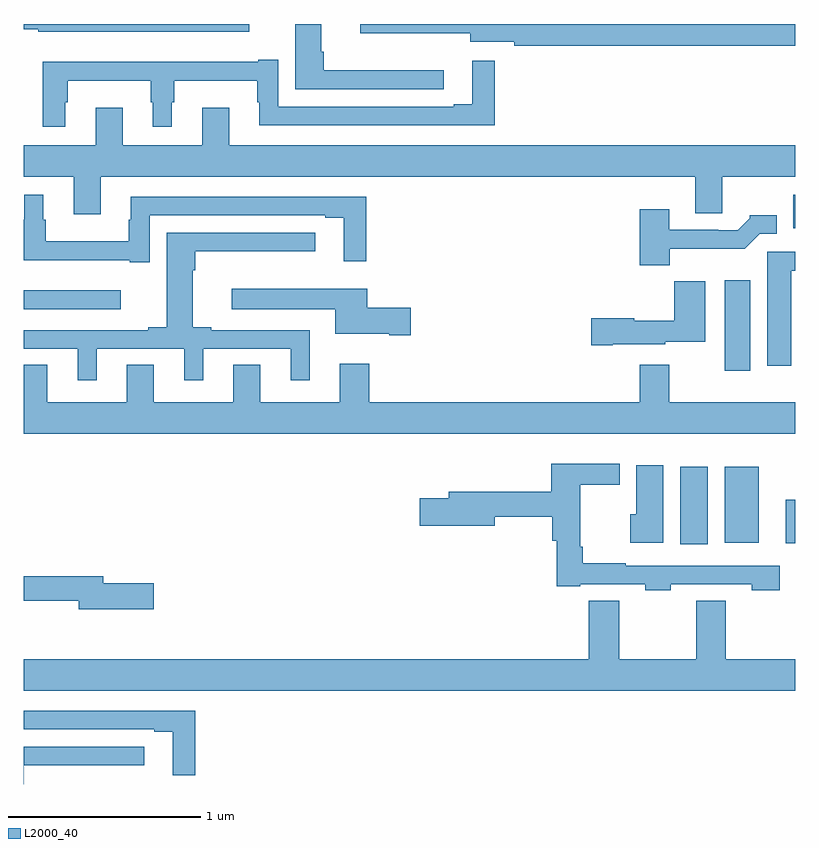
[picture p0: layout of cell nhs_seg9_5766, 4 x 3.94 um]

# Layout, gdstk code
import gdstk
lib = gdstk.Library(unit=1e-6, precision=1e-09)
def R(c, l, rs):  # rectangles x0, y0, x1, y1
    for r in rs: c.add(gdstk.rectangle(r[:2], r[2:], *l))
def P(c, l, *ps):  # polygons
    for p in ps: c.add(gdstk.Polygon(p, *l))
L2000_40 = (2000, 40)

nhs_seg9_5766 = lib.new_cell('nhs_seg9_5766')
R(nhs_seg9_5766, L2000_40, [(448.403,1239.804,448.546,1240.204), (448.949,1239.809,449,1240.033), (448.634,1239.812,448.81,1240.204), (448.634,1240.704,448.765,1241.173), (445,1241.022,445.504,1241.119), (448.988,1241.442,449,1241.614)])
P(nhs_seg9_5766, L2000_40, [(447.178,1242.26),(446.555,1242.26),(446.555,1242.355),(446.542,1242.355),(446.542,1242.5),(446.408,1242.5),(446.408,1242.162),(447.178,1242.162)],
  [(446.17,1242.5),(445,1242.5),(445,1242.472),(445.076,1242.472),(445.076,1242.461),(446.17,1242.461)],
  [(449,1242.5),(446.745,1242.5),(446.745,1242.452),(447.314,1242.452),(447.314,1242.408),(447.544,1242.408),(447.544,1242.388),(449,1242.388)],
  [(445.216,1242.095),(445.228,1242.095),(445.228,1242.206),(445.659,1242.206),(445.659,1242.095),(445.67,1242.095),(445.67,1241.967),(445.768,1241.967),(445.768,1242.095),(445.78,1242.095),(445.78,1242.206),(446.211,1242.206),(446.211,1242.095),(446.222,1242.095),(446.222,1241.976),(447.443,1241.976),(447.443,1242.31),(447.326,1242.31),(447.326,1242.085),(447.23,1242.085),(447.23,1242.072),(446.319,1242.072),(446.319,1242.316),(446.216,1242.316),(446.216,1242.304),(445.099,1242.304),(445.099,1241.967),(445.216,1241.967)],
  [(445.399,1241.708),(448.481,1241.708),(448.481,1241.518),(448.621,1241.518),(448.621,1241.708),(449,1241.708),(449,1241.872),(446.065,1241.872),(446.065,1242.067),(445.925,1242.067),(445.925,1241.872),(445.513,1241.872),(445.513,1242.067),(445.373,1242.067),(445.373,1241.872),(445,1241.872),(445,1241.708),(445.259,1241.708),(445.259,1241.514),(445.399,1241.514)],
  [(445.653,1241.508),(446.564,1241.508),(446.564,1241.496),(446.66,1241.496),(446.66,1241.271),(446.777,1241.271),(446.777,1241.604),(445.556,1241.604),(445.556,1241.486),(445.545,1241.486),(445.545,1241.374),(445.114,1241.374),(445.114,1241.486),(445.102,1241.486),(445.102,1241.614),(445.004,1241.614),(445.004,1241.486),(445,1241.486),(445,1241.276),(445.55,1241.276),(445.55,1241.265),(445.653,1241.265)],
  [(448.348,1241.334),(448.737,1241.334),(448.815,1241.412),(448.903,1241.412),(448.903,1241.509),(448.764,1241.509),(448.764,1241.494),(448.7,1241.43),(448.601,1241.43),(448.601,1241.433),(448.345,1241.433),(448.345,1241.539),(448.193,1241.539),(448.193,1241.249),(448.348,1241.249)],
  [(445.378,1240.818),(445.832,1240.818),(445.832,1240.653),(445.93,1240.653),(445.93,1240.818),(446.384,1240.818),(446.384,1240.653),(446.482,1240.653),(446.482,1240.914),(445.972,1240.914),(445.972,1240.927),(445.876,1240.927),(445.876,1241.225),(445.889,1241.225),(445.889,1241.321),(446.512,1241.321),(446.512,1241.418),(445.742,1241.418),(445.742,1240.927),(445.646,1240.927),(445.646,1240.914),(445,1240.914),(445,1240.818),(445.28,1240.818),(445.28,1240.653),(445.378,1240.653)],
  [(448.978,1241.222),(449,1241.222),(449,1241.319),(448.853,1241.319),(448.853,1240.728),(448.978,1240.728)],
  [(448.054,1240.841),(448.326,1240.841),(448.326,1240.853),(448.534,1240.853),(448.534,1241.167),(448.372,1241.167),(448.372,1240.963),(448.164,1240.963),(448.164,1240.976),(447.942,1240.976),(447.942,1240.834),(448.054,1240.834)],
  [(447.007,1241.03),(446.782,1241.03),(446.782,1241.128),(446.079,1241.128),(446.079,1241.021),(446.615,1241.021),(446.615,1240.895),(446.894,1240.895),(446.894,1240.888),(447.007,1240.888)],
  [(449,1240.54),(448.345,1240.54),(448.345,1240.735),(448.193,1240.735),(448.193,1240.54),(446.792,1240.54),(446.792,1240.738),(446.639,1240.738),(446.639,1240.54),(446.227,1240.54),(446.227,1240.733),(446.087,1240.733),(446.087,1240.54),(445.675,1240.54),(445.675,1240.733),(445.535,1240.733),(445.535,1240.54),(445.123,1240.54),(445.123,1240.733),(445,1240.733),(445,1240.376),(449,1240.376)],
  [(448.353,1239.597),(448.773,1239.597),(448.773,1239.565),(448.918,1239.565),(448.918,1239.693),(448.121,1239.693),(448.121,1239.706),(447.899,1239.706),(447.899,1239.79),(447.884,1239.79),(447.884,1240.113),(448.09,1240.113),(448.09,1240.222),(447.734,1240.222),(447.734,1240.075),(447.203,1240.075),(447.203,1240.041),(447.054,1240.041),(447.054,1239.899),(447.442,1239.899),(447.442,1239.946),(447.739,1239.946),(447.739,1239.821),(447.763,1239.821),(447.763,1239.585),(447.886,1239.585),(447.886,1239.597),(448.221,1239.597),(448.221,1239.565),(448.353,1239.565)],
  [(448.315,1240.213),(448.175,1240.213),(448.175,1239.96),(448.145,1239.96),(448.145,1239.812),(448.315,1239.812)],
  [(445.675,1239.602),(445.414,1239.602),(445.414,1239.638),(445,1239.638),(445,1239.51),(445.286,1239.51),(445.286,1239.467),(445.675,1239.467)],
  [(449,1239.208),(448.64,1239.208),(448.64,1239.512),(448.486,1239.512),(448.486,1239.208),(448.088,1239.208),(448.088,1239.512),(447.929,1239.512),(447.929,1239.208),(445,1239.208),(445,1239.044),(449,1239.044)],
  [(445.889,1238.94),(445,1238.94),(445,1238.844),(445.676,1238.844),(445.676,1238.832),(445.772,1238.832),(445.772,1238.607),(445.889,1238.607)],
  [(445.001,1238.657),(445.624,1238.657),(445.624,1238.754),(445,1238.754),(445,1238.561),(445.001,1238.561)])

lib.write_gds('nhs_seg9_5766.gds')
